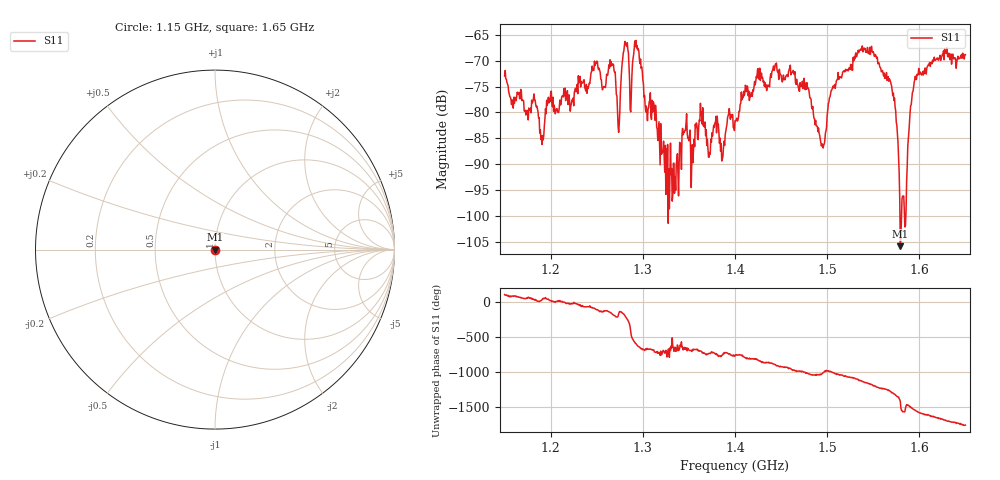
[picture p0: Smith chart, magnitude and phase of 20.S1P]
! C:\Users\rflab\Downloads\Lab5_KD_ZW\Q2\20.S1P
! Touchstone 1.1 file saved by VNA.EXE V1.65 (www.ke5fx.com/gpib/readme.htm)
! 11/12/2024 1:16:24 AM
!  Source: HEWLETT PACKARD,8753D,0,6.14
!  Min freq: 1.150000E+009 Hz
!  Max freq: 1.650000E+009 Hz
!  Points: 801
!  Params: S21
# GHZ S RI R 50
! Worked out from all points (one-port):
!   801 points, 1.15 GHz to 1.65 GHz, reference 50 ohm
!   lowest |S11| = -105.9 dB at 1.579 GHz (marker M1), VSWR 1.00, Z = 50 + j0.0001 ohm
!   |S11| at or under -10 dB: start of sweep to end of sweep
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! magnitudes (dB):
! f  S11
! 1.15 GHz  -72.9
! 1.157 GHz  -77.5
! 1.174 GHz  -79.6
! 1.212 GHz  -76.8
! 1.223 GHz  -77.6
! 1.25 GHz  -70.1
! 1.258 GHz  -75.0
! 1.267 GHz  -70.9
! 1.272 GHz  -80.0
! 1.275 GHz  -79.9
! 1.281 GHz  -66.3
! 1.288 GHz  -76.3
! 1.293 GHz  -67.5
! 1.304 GHz  -78.8
! 1.337 GHz  -88.0
! 1.4 GHz  -81.6
! 1.426 GHz  -73.0
! 1.435 GHz  -74.7
! 1.442 GHz  -71.9
! 1.462 GHz  -72.3
! 1.486 GHz  -81.1
! 1.498 GHz  -85.3
! 1.525 GHz  -71.3
! 1.55 GHz  -68.3
! 1.579 GHz  -105.9
! 1.587 GHz  -86.5
! 1.598 GHz  -72.8
! 1.65 GHz  -68.8
